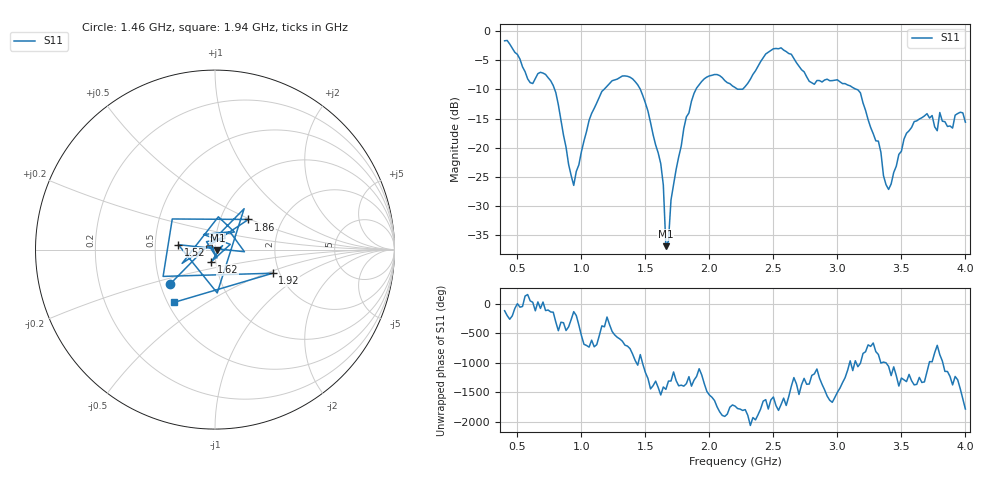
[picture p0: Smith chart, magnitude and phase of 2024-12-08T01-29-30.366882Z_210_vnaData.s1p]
!Created with skrf (http://scikit-rf.org).
# Hz S RI R 50.0
!freq ReS11 ImS11
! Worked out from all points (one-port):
!   181 points, 400 MHz to 4 GHz, reference 50 ohm
!   lowest |S11| = -37.0 dB at 1.66 GHz (marker M1), VSWR 1.03, Z = 51.4 - j0.305 ohm
!   |S11| at or under -10 dB: 791.2 MHz to 1.176 GHz (384.6 MHz wide, 39.1 % of centre); 1.461 GHz to 1.895 GHz (433.6 MHz wide, 25.8 % of centre); 3.153 GHz to end of sweep
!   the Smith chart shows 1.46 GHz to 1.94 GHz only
!   S11 on the Smith chart (normalised r, x): 1.46 GHz: 0.56, -0.24; 1.52 GHz: 0.66, +0.04; 1.62 GHz: 0.95, -0.13; 1.86 GHz: 1.36, +0.49; 1.92 GHz: 1.84, -0.55; 1.94 GHz: 0.54, -0.37
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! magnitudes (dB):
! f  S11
! 400 MHz  -1.6
! 600 MHz  -8.8
! 760 MHz  -8.5
! 860 MHz  -17.8
! 940 MHz  -26.5
! 1.08 GHz  -14.1
! 1.3 GHz  -7.9
! 1.46 GHz  -9.9
! 1.52 GHz  -13.7
! 1.62 GHz  -22.8
! 1.64 GHz  -26.4
! 1.66 GHz  -37.0
! 1.76 GHz  -21.6
! 1.86 GHz  -12.0
! 1.92 GHz  -9.2
! 1.94 GHz  -8.6
! 2.2 GHz  -9.7
! 2.5 GHz  -3.0
! 2.66 GHz  -4.7
! 2.82 GHz  -9.1
! 3.1 GHz  -9.4
! 3.32 GHz  -18.9
! 3.4 GHz  -27.2
! 3.56 GHz  -17.1
! 3.7 GHz  -14.2
! 3.78 GHz  -17.1
! 3.8 GHz  -14.0
! 4 GHz  -15.6
